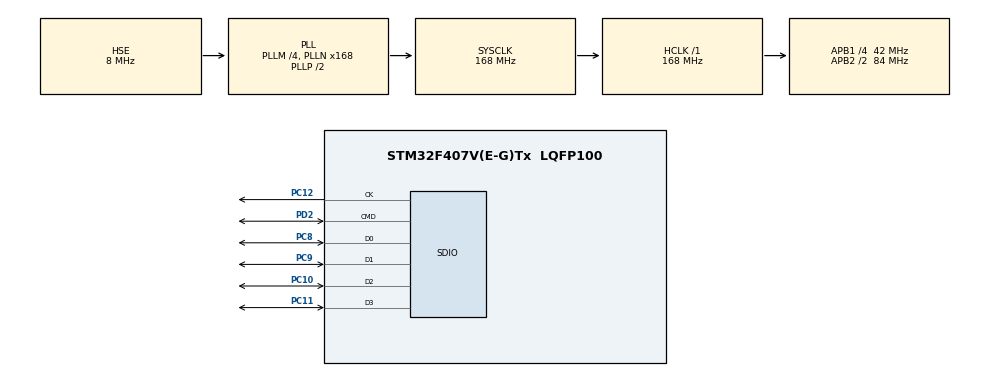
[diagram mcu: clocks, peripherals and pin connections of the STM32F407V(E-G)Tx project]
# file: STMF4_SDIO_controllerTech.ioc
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Dma.Request0=SDIO_RX
Dma.Request1=SDIO_TX
Dma.SDIO_RX.0.Direction=DMA_PERIPH_TO_MEMORY
Dma.SDIO_RX.0.FIFOMode=DMA_FIFOMODE_ENABLE
Dma.SDIO_RX.0.FIFOThreshold=DMA_FIFO_THRESHOLD_FULL
Dma.SDIO_RX.0.Instance=DMA2_Stream3
Dma.SDIO_RX.0.MemBurst=DMA_MBURST_INC4
Dma.SDIO_RX.0.MemDataAlignment=DMA_MDATAALIGN_WORD
Dma.SDIO_RX.0.MemInc=DMA_MINC_ENABLE
Dma.SDIO_RX.0.Mode=DMA_PFCTRL
Dma.SDIO_RX.0.PeriphBurst=DMA_PBURST_INC4
Dma.SDIO_RX.0.PeriphDataAlignment=DMA_PDATAALIGN_WORD
Dma.SDIO_RX.0.PeriphInc=DMA_PINC_DISABLE
Dma.SDIO_RX.0.Priority=DMA_PRIORITY_LOW
Dma.SDIO_TX.1.Direction=DMA_MEMORY_TO_PERIPH
Dma.SDIO_TX.1.FIFOMode=DMA_FIFOMODE_ENABLE
Dma.SDIO_TX.1.FIFOThreshold=DMA_FIFO_THRESHOLD_FULL
Dma.SDIO_TX.1.Instance=DMA2_Stream6
Dma.SDIO_TX.1.MemBurst=DMA_MBURST_INC4
Dma.SDIO_TX.1.MemDataAlignment=DMA_MDATAALIGN_WORD
Dma.SDIO_TX.1.MemInc=DMA_MINC_ENABLE
Dma.SDIO_TX.1.Mode=DMA_PFCTRL
Dma.SDIO_TX.1.PeriphBurst=DMA_PBURST_INC4
Dma.SDIO_TX.1.PeriphDataAlignment=DMA_PDATAALIGN_WORD
Dma.SDIO_TX.1.PeriphInc=DMA_PINC_DISABLE
Dma.SDIO_TX.1.Priority=DMA_PRIORITY_LOW
FATFS.USE_DMA_CODE_SD=1
FATFS._MAX_SS=4096
FATFS._USE_LFN=1
Mcu.Family=STM32F4
Mcu.Name=STM32F407V(E-G)Tx
Mcu.Package=LQFP100
NVIC.DMA2_Stream3_IRQn=true\:0\:0\:false\:false\:true\:false\:true
NVIC.DMA2_Stream6_IRQn=true\:0\:0\:false\:false\:true\:false\:true
NVIC.PriorityGroup=NVIC_PRIORITYGROUP_4
NVIC.SDIO_IRQn=true\:0\:0\:false\:false\:true\:true\:true
PC10.Mode=SD_4_bits_Wide_bus
PC10.Signal=SDIO_D2
PC11.Mode=SD_4_bits_Wide_bus
PC11.Signal=SDIO_D3
PC12.Mode=SD_4_bits_Wide_bus
PC12.Signal=SDIO_CK
PC8.Mode=SD_4_bits_Wide_bus
PC8.Signal=SDIO_D0
PC9.Mode=SD_4_bits_Wide_bus
PC9.Signal=SDIO_D1
PD2.Mode=SD_4_bits_Wide_bus
PD2.Signal=SDIO_CMD
PH0-OSC_IN.Mode=HSE-External-Oscillator
PH0-OSC_IN.Signal=RCC_OSC_IN
PH1-OSC_OUT.Mode=HSE-External-Oscillator
PH1-OSC_OUT.Signal=RCC_OSC_OUT
ProjectManager.HeapSize=0x200
ProjectManager.StackSize=0x400
ProjectManager.TargetToolchain=STM32CubeIDE
RCC.48MHZClocksFreq_Value=48000000
RCC.AHBFreq_Value=168000000
RCC.APB1CLKDivider=RCC_HCLK_DIV4
RCC.APB1Freq_Value=42000000
RCC.APB1TimFreq_Value=84000000
RCC.APB2CLKDivider=RCC_HCLK_DIV2
RCC.APB2Freq_Value=84000000
RCC.APB2TimFreq_Value=168000000
RCC.CortexFreq_Value=168000000
RCC.HCLKFreq_Value=168000000
RCC.HSE_VALUE=8000000
RCC.HSI_VALUE=16000000
RCC.LSE_VALUE=32768
RCC.PLLM=4
RCC.PLLN=168
RCC.PLLQ=7
RCC.PLLSourceVirtual=RCC_PLLSOURCE_HSE
RCC.SYSCLKFreq_VALUE=168000000
RCC.SYSCLKSource=RCC_SYSCLKSOURCE_PLLCLK
RCC.VCOOutputFreq_Value=336000000
SDIO.ClockDiv=5
VP_FATFS_VS_SDIO.Mode=SDIO
board=custom

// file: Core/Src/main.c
/* USER CODE BEGIN Header */
/**
  ******************************************************************************
  * @file           : main.c
  * @brief          : Main program body
  ******************************************************************************
  * @attention
  *
  * <h2><center>&copy; Copyright (c) 2021 STMicroelectronics.
  * All rights reserved.</center></h2>
  *
  * This software component is licensed by ST under Ultimate Liberty license
  * SLA0044, the "License"; You may not use this file except in compliance with
  * the License. You may obtain a copy of the License at:
  *                             www.st.com/SLA0044
  *
  ******************************************************************************
  */
/* USER CODE END Header */
#include "main.h"
#include "fatfs.h"

/* USER CODE BEGIN Includes */
#include <stdio.h>
#include <string.h>
/* USER CODE END Includes */

/* USER CODE BEGIN PTD */
//2. Printf
#ifdef __GNUC__
  /* With GCC, small printf (option LD Linker->Libraries->Small printf
     set to 'Yes') calls __io_putchar() */
  #define PUTCHAR_PROTOTYPE int __io_putchar(int ch)
#else
  #define PUTCHAR_PROTOTYPE int fputc(int ch, FILE *f)
#endif /* __GNUC__ */
/* USER CODE END PTD */

SD_HandleTypeDef hsd;
DMA_HandleTypeDef hdma_sdio_rx;
DMA_HandleTypeDef hdma_sdio_tx;

void SystemClock_Config(void);
static void MX_GPIO_Init(void);
static void MX_DMA_Init(void);
static void MX_SDIO_SD_Init(void);

/* USER CODE BEGIN 0 */
//3. fatfs.c extern variables
extern char SDPath[4];   /* SD logical drive path */
extern FATFS SDFatFS;    /* File system object for SD logical drive */
extern FIL SDFile;       /* File object for SD */

//4. FILE I/O variables
FRESULT res;                                          /* FatFs function common result code */
uint32_t byteswritten, bytesread;                     /* File write/read counts */
uint8_t wtext[] = "Hello from Mohamed :), xx"; /* File write buffer */
uint8_t rtext[100];                                   /* File read buffer */
/* USER CODE END 0 */

int main(void)
{
  /* USER CODE BEGIN 1 */
//https://controllerstech.com/stm32-usb-msc/
  /* USER CODE END 1 */

  /* MCU Configuration--------------------------------------------------------*/

  /* Reset of all peripherals, Initializes the Flash interface and the Systick. */
  HAL_Init();

  /* Configure the system clock */
  SystemClock_Config();

  /* Initialize all configured peripherals */
  MX_GPIO_Init();
  MX_DMA_Init();
  MX_SDIO_SD_Init();
  MX_FATFS_Init();
  /* USER CODE BEGIN 2 */
  //5. File Operations
res=f_mount(&SDFatFS, (TCHAR const*)SDPath, 0);
  	HAL_Delay(200);
  		//Open file for writing (Create)
res=f_open(&SDFile, "F7FILE2.TXT", FA_CREATE_ALWAYS | FA_WRITE);

  		//Write to the text file
  		res = f_write(&SDFile, wtext, strlen((char *)wtext), (void *)&byteswritten);
  		if((byteswritten == 0) || (res != FR_OK))
  		{
  			printf("Failed to write file!\r\n");
  		}
  		else printf("File written successfully\r\n");

  		f_close(&SDFile);

  		//Test read file
  		f_open(&SDFile, "F7FILE2.TXT",  FA_READ);
  		memset(rtext,0,sizeof(rtext));
  		res = f_read(&SDFile, rtext, sizeof(rtext), (UINT*)&bytesread);
  		if((bytesread == 0) || (res != FR_OK))
  		{
  			printf("Failed to read file!\r\n");
  		}
  		else
  		{
  			printf("File read successfully\r\n");
  			printf("File content: %s\r\n", (char *)rtext);
  		}
  		f_close(&SDFile);
  	f_mount(&SDFatFS, (TCHAR const*)NULL, 0);
  /* USER CODE END 2 */

  /* Infinite loop */
  while (1)
  {

  }
}

void SystemClock_Config(void)
{
  RCC_OscInitTypeDef RCC_OscInitStruct = {0};
  RCC_ClkInitTypeDef RCC_ClkInitStruct = {0};

  /** Configure the main internal regulator output voltage
  */
  __HAL_RCC_PWR_CLK_ENABLE();
  __HAL_PWR_VOLTAGESCALING_CONFIG(PWR_REGULATOR_VOLTAGE_SCALE1);
  /** Initializes the RCC Oscillators according to the specified parameters
  * in the RCC_OscInitTypeDef structure.
  */
  RCC_OscInitStruct.OscillatorType = RCC_OSCILLATORTYPE_HSE;
  RCC_OscInitStruct.HSEState = RCC_HSE_ON;
  RCC_OscInitStruct.PLL.PLLState = RCC_PLL_ON;
  RCC_OscInitStruct.PLL.PLLSource = RCC_PLLSOURCE_HSE;
  RCC_OscInitStruct.PLL.PLLM = 4;
  RCC_OscInitStruct.PLL.PLLN = 168;
  RCC_OscInitStruct.PLL.PLLP = RCC_PLLP_DIV2;
  RCC_OscInitStruct.PLL.PLLQ = 7;
  if (HAL_RCC_OscConfig(&RCC_OscInitStruct) != HAL_OK)
  {
    Error_Handler();
  }
  /** Initializes the CPU, AHB and APB buses clocks
  */
  RCC_ClkInitStruct.ClockType = RCC_CLOCKTYPE_HCLK|RCC_CLOCKTYPE_SYSCLK
                              |RCC_CLOCKTYPE_PCLK1|RCC_CLOCKTYPE_PCLK2;
  RCC_ClkInitStruct.SYSCLKSource = RCC_SYSCLKSOURCE_PLLCLK;
  RCC_ClkInitStruct.AHBCLKDivider = RCC_SYSCLK_DIV1;
  RCC_ClkInitStruct.APB1CLKDivider = RCC_HCLK_DIV4;
  RCC_ClkInitStruct.APB2CLKDivider = RCC_HCLK_DIV2;

  if (HAL_RCC_ClockConfig(&RCC_ClkInitStruct, FLASH_LATENCY_5) != HAL_OK)
  {
    Error_Handler();
  }
}

static void MX_SDIO_SD_Init(void)
{

  hsd.Instance = SDIO;
  hsd.Init.ClockEdge = SDIO_CLOCK_EDGE_RISING;
  hsd.Init.ClockBypass = SDIO_CLOCK_BYPASS_DISABLE;
  hsd.Init.ClockPowerSave = SDIO_CLOCK_POWER_SAVE_DISABLE;
  hsd.Init.BusWide = SDIO_BUS_WIDE_1B;
  hsd.Init.HardwareFlowControl = SDIO_HARDWARE_FLOW_CONTROL_DISABLE;
  hsd.Init.ClockDiv = 5;

}

static void MX_DMA_Init(void)
{

  /* DMA controller clock enable */
  __HAL_RCC_DMA2_CLK_ENABLE();

  /* DMA interrupt init */
  /* DMA2_Stream3_IRQn interrupt configuration */
  HAL_NVIC_SetPriority(DMA2_Stream3_IRQn, 0, 0);
  HAL_NVIC_EnableIRQ(DMA2_Stream3_IRQn);
  /* DMA2_Stream6_IRQn interrupt configuration */
  HAL_NVIC_SetPriority(DMA2_Stream6_IRQn, 0, 0);
  HAL_NVIC_EnableIRQ(DMA2_Stream6_IRQn);

}

static void MX_GPIO_Init(void)
{

  /* GPIO Ports Clock Enable */
  __HAL_RCC_GPIOH_CLK_ENABLE();
  __HAL_RCC_GPIOC_CLK_ENABLE();
  __HAL_RCC_GPIOD_CLK_ENABLE();

}

/* USER CODE BEGIN 4 */
PUTCHAR_PROTOTYPE
{
  /* Place your implementation of fputc here */
  /* e.g. write a character to the EVAL_COM1 and Loop until the end of transmission */
  //HAL_UART_Transmit(&huart1, (uint8_t *)&ch, 1, 0xFFFF);

  return ch;
}
/* USER CODE END 4 */

void Error_Handler(void)
{
}

/************************ (C) COPYRIGHT STMicroelectronics *****END OF FILE****/
